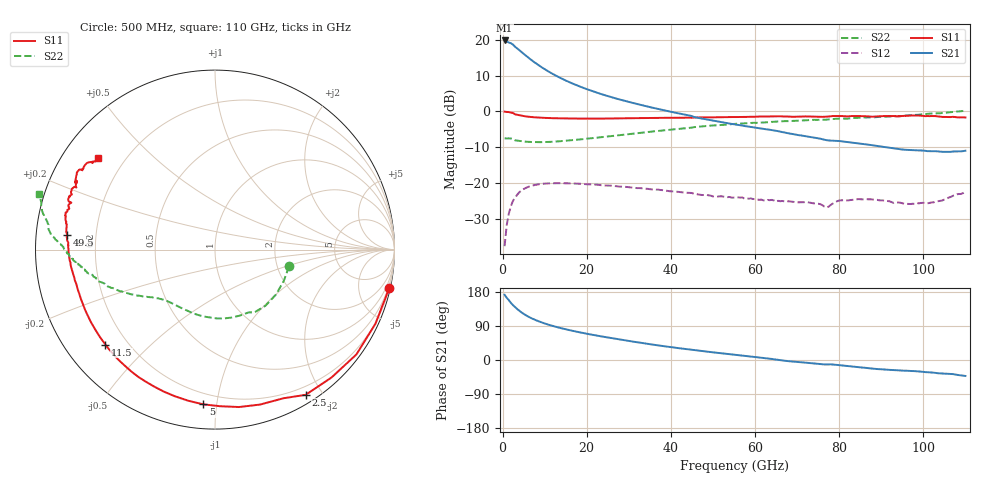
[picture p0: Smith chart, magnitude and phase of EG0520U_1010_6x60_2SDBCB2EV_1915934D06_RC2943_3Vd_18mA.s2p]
!File name = EG0520U_1010_6x60_2SDBCB2EV_1915934D06_RC2943_3Vd_18mA.s2p
!Base file name = EG0520U_1010_6x60_2SDBCB2EV_1915934D06_RC2943
!Date = 8/23/2019
!Time = 1:03 PM
!Test duration(min) = 0.15
!Test = S-Parameters
!MPTS version = 8.91.5
!State File = C:\Data\PNA\20190821205423\S-Parameters_2019-08-23.sta
!Cal File =
!ComputerName = CMPE-LAB-6
!Comments =
!Attenuation = 0
!Z0 = 50
!Input Power(dBm) = -13.00
!Device ID = EG0520U_1010_6x60_2SDBCB2EV
!Row = 29
!Column = 43
!Technology = QPHT09
!Lot/Wafer = 1915934D06
!Gate Size = 360
!Mask = EG0520
!Cal Standards = GaAs BCB
!Cal Kit = EG2306
!Job Number = 20190821205423
!Device Type = FET
!set_Vg(v) = -1.500
!set_Vd(v) = 3.000
!set_Vd(mA) = 18.000
!file_name = EG0520U_1010_6x60_2SDBCB2EV_1915934D06_RC2943_3Vd_18mA.s2p
!Vd(V) = 3.000
!Vd(mA) = 17.918
!Vg(V) = -0.616
!Vg(mA) = -0.004
# GHz  S  DB  R  50
!%	Freq(GHz)  s11(dB)  s11(deg)  s21(dB)  s21(deg)  s12(dB)  s12(deg)  s22(dB)  s22(deg)
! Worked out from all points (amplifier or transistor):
!   220 points, 500 MHz to 110 GHz, reference 50 ohm
!   highest |S21| = 19.8 dB at 500 MHz (marker M1)
!   |S21| within 3 dB of that: start of sweep to 4.3 GHz
!   unconditionally stable (mu >= 1): 37.92 GHz to 96.8 GHz
!   at 18.5 GHz: K = 0.49, MSG = 13.5 dB, |S12| = -20.1 dB
!   at 55.5 GHz: K = 1.42, MAG = 6.3 dB, |S12| = -24.0 dB
!   at 110 GHz: K = -1.18, MSG = 5.7 dB, |S12| = -22.3 dB
!   S11 on the Smith chart (normalised r, x): 500 MHz: 0.25, -9.11; 2.5 GHz: 0.10, -1.80; 5 GHz: 0.13, -0.92; 11.5 GHz: 0.12, -0.37; 49.5 GHz: 0.09, +0.05; 110 GHz: 0.11, +0.34
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0.5  -0.05 -12.5  19.76 172.1  -37.48 81.6  -7.47 -12.8
1  -0.13 -24.8  19.47 164.2  -31.66 75.0  -7.51 -24.8
2  -0.32 -47.7  18.97 150.7  -26.32 61.9  -7.52 -48.1
2.5  -0.41 -58.0  18.61 144.7  -24.86 56.4  -7.68 -57.8
3  -0.80 -65.3  18.00 139.4  -23.98 52.0  -8.03 -61.9
3.5  -0.92 -73.8  17.55 134.5  -23.14 47.6  -8.11 -69.5
4.5  -1.18 -88.2  16.56 125.6  -21.99 39.9  -8.25 -82.8
5  -1.26 -94.4  16.07 122.0  -21.60 36.7  -8.32 -88.4
6  -1.44 -105.2  15.12 115.2  -21.03 31.3  -8.45 -97.7
7.5  -1.61 -117.8  13.76 107.0  -20.51 24.7  -8.51 -108.4
9.5  -1.75 -129.9  12.15 98.4  -20.12 18.2  -8.53 -117.7
11.5  -1.85 -139.1  10.73 91.3  -19.98 13.1  -8.45 -124.6
14.5  -1.93 -148.9  8.91 82.5  -19.97 7.5  -8.21 -131.7
19  -1.98 -158.8  6.66 71.5  -20.15 1.3  -7.71 -138.2
26.5  -1.94 -168.9  3.77 56.5  -20.73 -5.1  -6.74 -145.0
37  -1.78 -177.9  0.69 38.5  -21.73 -10.3  -5.42 -152.6
49.5  -1.65 174.5  -2.46 20.8  -23.43 -14.6  -3.94 -161.5
55.5  -1.55 171.2  -3.64 13.4  -23.96 -13.8  -3.42 -165.1
73.5  -1.43 162.5  -7.18 -8.6  -25.49 -17.3  -2.32 -173.7
92  -1.30 153.6  -10.10 -26.1  -25.00 -28.1  -1.40 178.6
101  -1.27 148.9  -11.03 -32.2  -25.56 -24.4  -0.66 173.7
110  -1.67 141.9  -10.91 -42.1  -22.27 -29.2  0.22 162.4
